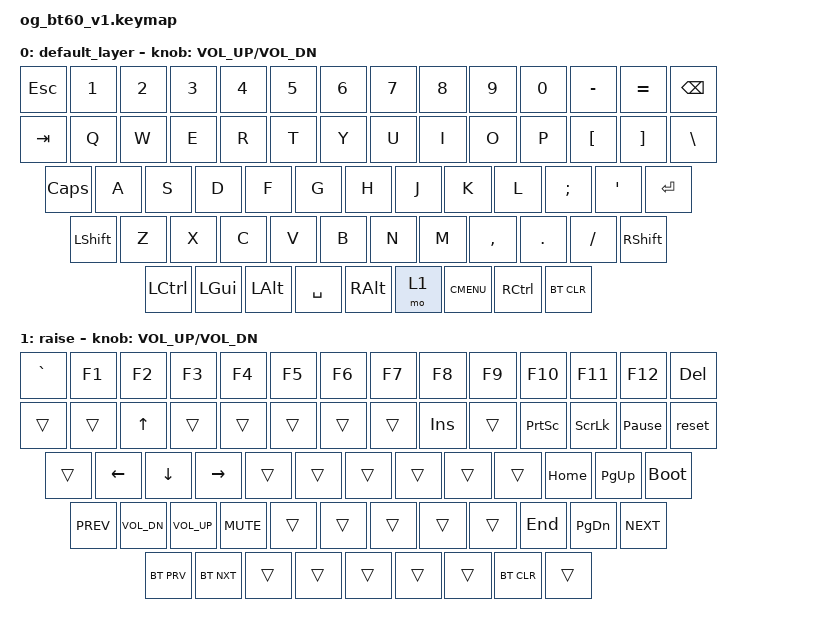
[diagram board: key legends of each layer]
#include <behaviors.dtsi>
#include <dt-bindings/zmk/keys.h>
#include <dt-bindings/zmk/bt.h>

#define ANSI true
//#define HHKB true
//#define ISO true
//#define ALL_1U true
//#define SPLIT_BKSP_RSHFT true

&kscan0 {
    debounce-period = <15>;
};

/ {
	chosen {
	#ifdef ANSI
		zmk,matrix_transform = &ansi_transform;
	#elif defined(HHKB)
		zmk,matrix_transform = &hhkb_transform;
	#elif defined(ISO)
		zmk,matrix_transform = &iso_transform;
	#elif defined(ALL_1U)
		zmk,matrix_transform = &all_1u_transform;
	#else
		zmk,matrix_transform = &split_transform;
	#endif
	};


	keymap {
		compatible = "zmk,keymap";
		#ifdef ANSI
		default_layer {
				// ------------------------------------------------------------------------------------------
				// | ESC |  1  |  2  |  3  |  4  |  5  |  6  |  7  |  8  |  9  |  0  |  -  |  =  |   BKSP   |
				// |  TAB  |  Q  |  W  |  E  |  R  |  T  |  Y  |  U  |  I  |  O  |  P  |  [  |  ]  |   |    |
				// |  CAPS  |  A  |  S  |  D  |  F  |  G  |  H  |  J  |  K  |  L  |  ;  |  '  |    ENTER    |
				// |  SHIFT    |  Z  |  X  |  C  |  V  |  B  |  N  |  M  |  ,  |  .  | /   |      SHIFT     |
				// |  CTL  |  WIN  |  ALT  |            SPACE              | ALT | 1    |  MENU    |  CTRL  |
				// ------------------------------------------------------------------------------------------
			bindings = <
				&kp ESC &kp N1 &kp N2 &kp N3 &kp N4 &kp N5 &kp N6 &kp N7 &kp  N8   &kp  N9 &kp  N0  &kp MINUS &kp EQUAL &kp BSPC
				&kp TAB  &kp Q  &kp W  &kp E  &kp R  &kp T  &kp Y  &kp U  &kp  I    &kp  O  &kp  P   &kp LBKT &kp RBKT  &kp BSLH
				&kp CLCK  &kp A  &kp S  &kp D  &kp F  &kp G  &kp H  &kp J  &kp  K    &kp  L  &kp SEMI &kp SQT           &kp RET
				&kp LSHFT  &kp Z  &kp X  &kp C  &kp V  &kp B  &kp N  &kp M  &kp COMMA &kp DOT &kp FSLH             &kp RSHFT
				&kp LCTRL &kp LGUI &kp LALT            &kp SPACE                          &kp RALT  &mo 1 &kp K_CMENU &kp RCTRL &bt BT_CLR
			>;
			sensor-bindings = <&inc_dec_kp C_VOL_UP C_VOL_DN>;
		};
		raise {
				// ------------------------------------------------------------------------------------------
				// |GRAVE| F1  | F2  | F3  | F4  | F5  | F6  | F7  | F8  | F9  | F10 | F11 | F12 |   DEL   |
				// | TAB  |  Q  | UP  |  E  |  R  |  T  |  Y  |  U  | INS |  O  |PSCRN|SLCK |PSEBRK| RESET |
				// | CAPS  |LEFT |DOWN |RIGHT|  F  |  G  |  H  |  J  |  K  |  L  |HOME |PGUP |  BOOTLOADER |
				// |   PREV  |VOLUP |VOLDN|MUTE |  V  |  B  |  N  |  M  |  ,  | END | PGDN |      NEXT     |
				// |  CTL  |  WIN  |  ALT  |            SPACE               | ALT | 1    |  MENU  | BT_CLR |
				// ------------------------------------------------------------------------------------------
			bindings = <
				&kp GRAVE &kp F1 &kp F2 &kp F3 &kp F4 &kp F5 &kp F6 &kp F7 &kp  F8   &kp  F9 &kp  F10  &kp F11 &kp F12   &kp DEL
				&trans &trans &kp UP &trans &trans &trans &trans &trans &kp INS &trans &kp PSCRN &kp SLCK &kp PAUSE_BREAK &reset
				&trans    &kp LEFT &kp DOWN &kp RIGHT &trans &trans &trans &trans &trans &trans &kp HOME  &kp PG_UP   &bootloader
				&kp C_PREV &kp C_VOL_DN &kp C_VOL_UP &kp C_MUTE &trans &trans &trans &trans &trans &kp END &kp PG_DN  &kp C_NEXT
				&bt BT_PRV &bt BT_NXT  &trans              &trans                            &trans   &trans   &trans &bt BT_CLR &trans
			>;
			sensor-bindings = <&inc_dec_kp C_VOL_UP C_VOL_DN>;
		};
		#elif defined(HHKB)
		default_layer {
				// ------------------------------------------------------------------------------------------
				// | ESC |  1  |  2  |  3  |  4  |  5  |  6  |  7  |  8  |  9  |  0  |  -  |  =  |  \  | `  |
				// | TAB  |  Q  |  W  |  E  |  R  |  T  |  Y  |  U  |  I  |  O  |  P  |  [  |  ]  |  BSPC   |
				// | CTRL  |  A  |  S  |  D  |  F  |  G  |  H  |  J  |  K  |  L  |  ;  |  '  |      ENTER   |
				// |  SHIFT    |  Z  |  X  |  C  |  V  |  B  |  N  |  M  |  ,  |  .  | /   | SHIFT |   1    |
				// |  CAPS  |  ALT  |  WIN |                     SPACE               |   WIN   | ALT | CTRL |
				// ------------------------------------------------------------------------------------------
			bindings = <
				&kp ESC       &kp N1          &kp N2          &kp N3        &kp N4    &kp N5    &kp N6    &kp N7    &kp  N8      &kp  N9     &kp  N0       &kp MINUS     &kp EQUAL          &kp BSLH    &kp GRAVE
				&kp TAB       &kp Q           &kp W           &kp E         &kp R     &kp T     &kp Y     &kp U     &kp  I       &kp  O      &kp  P        &kp LBKT      &kp RBKT           &kp BSPC
				&kp LCTRL     &kp A           &kp S           &kp D         &kp F     &kp G     &kp H     &kp J     &kp  K       &kp  L      &kp SEMI      &kp SQT       &kp RET
				&kp LSHFT     &kp Z           &kp X           &kp C         &kp V     &kp B     &kp N     &kp M     &kp COMMA    &kp DOT     &kp FSLH      &kp RSHFT     &mo 1
				&kp LCTRL     &kp LALT        &kp LGUI                                                    &kp SPACE                                        &kp RGUI      &kp RALT           &kp RCTRL
			>;
			sensor-bindings = <&inc_dec_kp C_VOL_UP C_VOL_DN>;
		};
		raise {
			bindings = <
				&trans        &kp F1          &kp F2          &kp F3        &kp F4    &kp F5    &kp F6    &kp F7    &kp F8       &kp F9      &kp F10       &kp F11       &kp F12            &kp INS      &kp DEL
				&kp CLCK      &bt BT_PRV      &bt BT_NXT      &bt BT_CLR    &trans    &trans    &trans    &trans    &trans       &trans      &trans        &kp UP        &trans             &reset
				&trans        &kp C_VOL_DN    &kp C_VOL_UP    &kp C_MUTE    &trans    &trans    &trans    &trans    &trans       &trans      &kp LEFT      &kp RIGHT     &trans
				&trans        &trans          &trans          &trans        &trans    &trans    &trans    &trans    &trans       &trans      &kp DOWN      &trans        &trans
				&trans        &trans          &trans                                                      &bootloader                                      &trans        &trans             &trans
			>;
			sensor-bindings = <&inc_dec_kp C_VOL_UP C_VOL_DN>;
		};
		#elif defined(ISO)
		default_layer {
				// ------------------------------------------------------------------------------------------
				// | ESC |  1  |  2  |  3  |  4  |  5  |  6  |  7  |  8  |  9  |  0  |  -  |  =  |   BKSP   |
				// | TAB  |  Q  |  W  |  E  |  R  |  T  |  Y  |  U  |  I  |  O  |  P  |  [  |  ]  |         |
				// | CAPS  |  A  |  S  |  D  |  F  |  G  |  H  |  J  |  K  |  L  |  ;  |  '  |  #   | ENTER |
				// |  SHIFT | |  |  Z  |  X  |  C  |  V  |  B  |  N  |  M  |  ,  |  .  | /   |     SHIFT    |
				// |  CTL  |  WIN  |  ALT  |                     SPACE        |   ALT   |  1  | MENU | CTRL |
				// ------------------------------------------------------------------------------------------
			bindings = <
				&kp ESC &kp N1 &kp N2 &kp N3 &kp N4 &kp N5 &kp N6 &kp N7 &kp  N8   &kp  N9 &kp  N0  &kp MINUS &kp EQUAL &kp BSPC
				&kp TAB  &kp Q  &kp W  &kp E  &kp R  &kp T  &kp Y  &kp U  &kp  I    &kp  O  &kp  P   &kp LBKT &kp RBKT
				&kp CLCK  &kp A  &kp S  &kp D  &kp F  &kp G  &kp H  &kp J  &kp  K    &kp  L  &kp SEMI &kp SQT  &kp NON_US_HASH  &kp RET
				&kp LSHFT &kp NON_US_BSLH &kp Z  &kp X  &kp C  &kp V  &kp B  &kp N  &kp M  &kp COMMA &kp DOT &kp FSLH             &kp RSHFT
				&kp LCTRL &kp LGUI &kp LALT            &kp SPACE                          &kp RALT  &mo 1 &kp K_CMENU &kp RCTRL
			>;
			sensor-bindings = <&inc_dec_kp C_VOL_UP C_VOL_DN>;
		};
		raise {
			bindings = <
				&kp GRAVE &kp F1 &kp F2 &kp F3 &kp F4 &kp F5 &kp F6 &kp F7 &kp  F8   &kp  F9 &kp  F10  &kp F11 &kp F12   &kp DEL
				&reset &trans &kp UP &trans &trans &trans &trans &trans &kp INS &trans &kp PSCRN &kp SLCK &kp PAUSE_BREAK
				&trans    &kp LEFT &kp DOWN &kp RIGHT &trans &trans &trans &trans &trans &trans &kp HOME  &kp PG_UP  &trans &bootloader
				&kp C_PREV &kp C_VOL_DN &kp C_VOL_UP &kp C_MUTE &trans &trans &trans &trans &trans &trans &kp END &kp PG_DN  &kp C_NEXT
				&bt BT_PRV &bt BT_NXT  &trans              &trans                            &trans   &trans   &trans &bt BT_CLR
			>;
			sensor-bindings = <&inc_dec_kp C_VOL_UP C_VOL_DN>;
		};
		#elif defined(ALL_1U)
		default_layer {
				// ------------------------------------------------------------------------------------------
				// | ESC |  1  |  2  |  3  |  4  |  5  |  6  |  7  |  8  |  9  |  0  |  -  |  =  |   BKSP   |
				// | TAB  |  Q  |  W  |  E  |  R  |  T  |  Y  |  U  |  I  |  O  |  P  |  [  |  ]  |   "|"   |
				// | CAPS  |  A  |  S  |  D  |  F  |  G  |  H  |  J  |  K  |  L  |  ;  |  '  |     ENTER    |
				// |  SHIFT    |  Z  |  X  |  C  |  V  |  B  |  N  |  M  |  ,  |  .  | /   | SHFT | UP | 1  |
				// |  CTL  |  WIN  |  ALT  |            SPACE              | ALT | CTRL | LEFT | DOWN | RIGHT |
				// ------------------------------------------------------------------------------------------
			bindings = <
				&kp ESC &kp N1 &kp N2 &kp N3 &kp N4 &kp N5 &kp N6 &kp N7 &kp  N8   &kp  N9 &kp  N0  &kp MINUS &kp EQUAL &kp BSPC
				&kp TAB  &kp Q  &kp W  &kp E  &kp R  &kp T  &kp Y  &kp U  &kp  I    &kp  O  &kp  P   &kp LBKT &kp RBKT  &kp BSLH
				&kp CLCK  &kp A  &kp S  &kp D  &kp F  &kp G  &kp H  &kp J  &kp  K    &kp  L  &kp SEMI &kp SQT           &kp RET
				&kp LSHFT  &kp Z  &kp X  &kp C  &kp V  &kp B  &kp N  &kp M  &kp COMMA &kp DOT &kp FSLH    &kp RSHFT &kp UP   &mo 1
				&kp LCTRL &kp LGUI &kp LALT            &kp SPACE                          &kp RALT  &kp RCTRL &kp LEFT &kp DOWN &kp RIGHT
			>;
			sensor-bindings = <&inc_dec_kp C_VOL_UP C_VOL_DN>;
		};
		raise {
			bindings = <
				&kp GRAVE &kp F1 &kp F2 &kp F3 &kp F4 &kp F5 &kp F6 &kp F7 &kp  F8   &kp  F9 &kp  F10  &kp F11 &kp F12   &kp F1
				&trans &trans &kp UP &trans &trans &trans &trans &trans &kp INS &trans &kp PSCRN &kp SLCK &kp PAUSE_BREAK &reset
				&trans    &kp LEFT &kp DOWN &kp RIGHT &trans &trans &trans &trans &trans &trans &kp HOME  &kp PG_UP   &bootloader
				&kp C_PREV &kp C_VOL_DN &kp C_VOL_UP &kp C_MUTE &trans &trans &trans &trans &trans &trans &trans &kp END &kp PG_DN  &kp C_NEXT
				&bt BT_PRV &bt BT_NXT  &trans              &trans                            &trans  &trans &trans   &trans &bt BT_CLR
			>;
			sensor-bindings = <&inc_dec_kp C_VOL_UP C_VOL_DN>;
		};
		#else
		default_layer {
				// ------------------------------------------------------------------------------------------
				// | ESC |  1  |  2  |  3  |  4  |  5  |  6  |  7  |  8  |  9  |  0  |  -  |  =  |BKSP| DEL |
				// | TAB  |  Q  |  W  |  E  |  R  |  T  |  Y  |  U  |  I  |  O  |  P  |  [  |  ]  |    \    |
				// | CAPS  |  A  |  S  |  D  |  F  |  G  |  H  |  J  |  K  |  L  |  ;  |  '  |     ENTER    |
				// |  SHIFT    |  Z  |  X  |  C  |  V  |  B  |  N  |  M  |  ,  |  .  | /   |   SHIFT  |  1  |
				// |  CTL  |  WIN  |  ALT  |                     SPACE               |   ALT   |  1  | CTRL |
				// ------------------------------------------------------------------------------------------
			bindings = <
				&kp ESC &kp N1 &kp N2 &kp N3 &kp N4 &kp N5 &kp N6 &kp N7 &kp  N8   &kp  N9 &kp  N0  &kp MINUS &kp EQUAL &kp BSPC &kp DEL
				&kp TAB  &kp Q  &kp W  &kp E  &kp R  &kp T  &kp Y  &kp U  &kp  I    &kp  O  &kp  P   &kp LBKT &kp RBKT  &kp BSLH
				&kp CLCK  &kp A  &kp S  &kp D  &kp F  &kp G  &kp H  &kp J  &kp  K    &kp  L  &kp SEMI &kp SQT           &kp RET
				&kp LSHFT  &kp Z  &kp X  &kp C  &kp V  &kp B  &kp N  &kp M  &kp COMMA &kp DOT &kp FSLH    &kp RSHFT    &mo 1
				&kp LCTRL &kp LGUI &kp LALT            &kp SPACE                          &kp RALT &kp RGUI &kp C_MENU &kp RCTRL
			>;
			sensor-bindings = <&inc_dec_kp C_VOL_UP C_VOL_DN>;
		};
		raise {
			bindings = <
				&kp GRAVE &kp F1 &kp F2 &kp F3 &kp F4 &kp F5 &kp F6 &kp F7 &kp  F8   &kp  F9 &kp  F10  &kp F11 &kp F12   &kp DEL &trans
				&trans &trans &kp UP &trans &trans &trans &trans &trans &kp INS &trans &kp PSCRN &kp SLCK &kp PAUSE_BREAK &reset
				&trans    &kp LEFT &kp DOWN &kp RIGHT &trans &trans &trans &trans &trans &trans &kp HOME  &kp PG_UP   &bootloader
				&kp C_PREV &kp C_VOL_DN &kp C_VOL_UP &kp C_MUTE &trans &trans &trans &trans &trans &kp END &kp PG_DN  &kp C_NEXT &trans
				&bt BT_PRV &bt BT_NXT  &trans                       &trans                            &trans  &trans &trans &bt BT_CLR
			>;
			sensor-bindings = <&inc_dec_kp C_VOL_UP C_VOL_DN>;
		};
		#endif
	};
};
